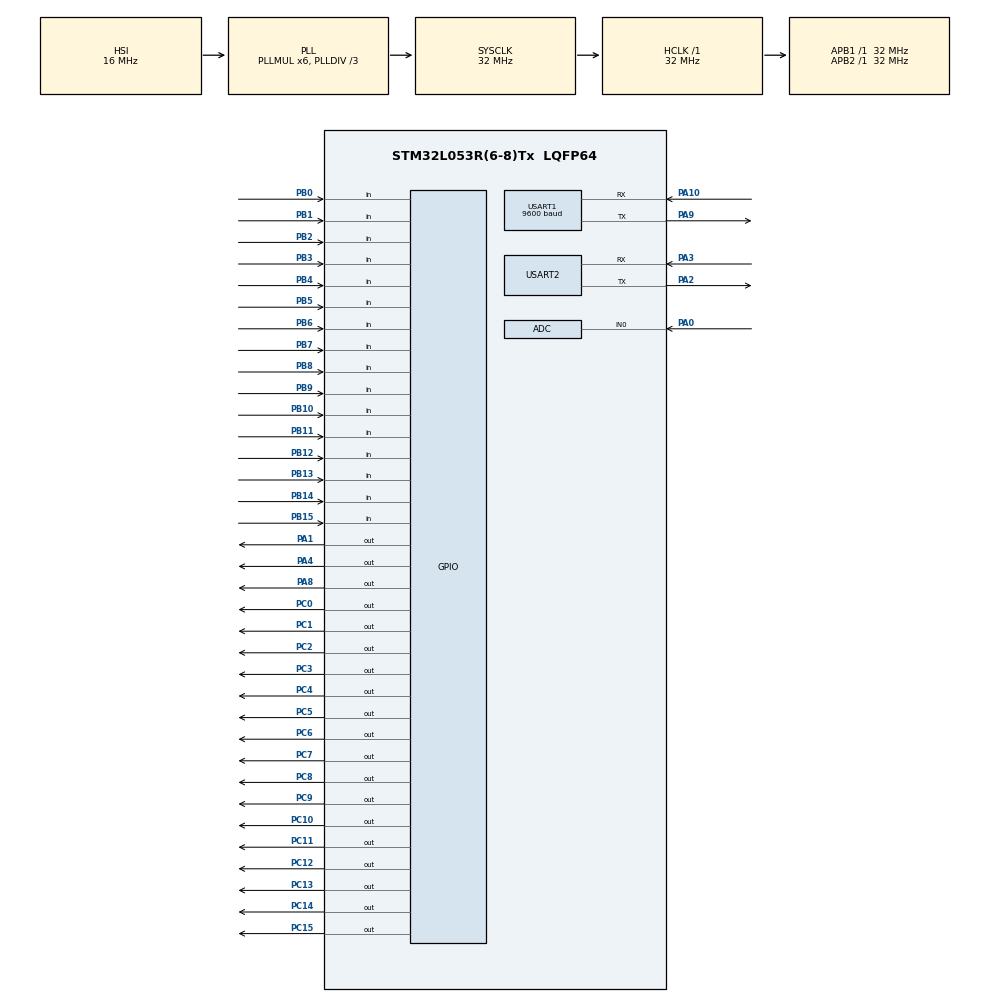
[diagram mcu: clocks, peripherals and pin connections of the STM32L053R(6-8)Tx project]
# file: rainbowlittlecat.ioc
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Mcu.Family=STM32L0
Mcu.Name=STM32L053R(6-8)Tx
Mcu.Package=LQFP64
NVIC.TIM6_DAC_IRQn=true\:0\:0\:false\:false\:true\:true\:true
NVIC.USART2_IRQn=true\:0\:0\:false\:false\:true\:true\:true
PA0.Mode=IN0
PA0.Signal=ADC_IN0
PA1.Signal=GPIO_Output
PA10.Mode=Asynchronous
PA10.Signal=USART1_RX
PA2.Mode=Asynchronous
PA2.Signal=USART2_TX
PA3.Mode=Asynchronous
PA3.Signal=USART2_RX
PA4.Signal=GPIO_Output
PA8.Signal=GPIO_Output
PA9.Mode=Asynchronous
PA9.Signal=USART1_TX
PB0.Signal=GPIO_Input
PB1.Signal=GPIO_Input
PB10.Signal=GPIO_Input
PB11.Signal=GPIO_Input
PB12.Signal=GPIO_Input
PB13.Signal=GPIO_Input
PB14.Signal=GPIO_Input
PB15.Signal=GPIO_Input
PB2.Signal=GPIO_Input
PB3.Signal=GPIO_Input
PB4.Signal=GPIO_Input
PB5.Signal=GPIO_Input
PB6.Signal=GPIO_Input
PB7.Signal=GPIO_Input
PB8.Signal=GPIO_Input
PB9.Signal=GPIO_Input
PC0.Signal=GPIO_Output
PC1.Signal=GPIO_Output
PC10.Signal=GPIO_Output
PC11.Signal=GPIO_Output
PC12.Signal=GPIO_Output
PC13.Signal=GPIO_Output
PC14-OSC32_IN.Signal=GPIO_Output
PC15-OSC32_OUT.Signal=GPIO_Output
PC2.Signal=GPIO_Output
PC3.Signal=GPIO_Output
PC4.Signal=GPIO_Output
PC5.Signal=GPIO_Output
PC6.Signal=GPIO_Output
PC7.Signal=GPIO_Output
PC8.Signal=GPIO_Output
PC9.Signal=GPIO_Output
ProjectManager.HeapSize=0x200
ProjectManager.StackSize=0x400
ProjectManager.TargetToolchain=MDK-ARM V5
RCC.AHBFreq_Value=32000000
RCC.APB1Freq_Value=32000000
RCC.APB1TimFreq_Value=32000000
RCC.APB2Freq_Value=32000000
RCC.APB2TimFreq_Value=32000000
RCC.HCLKFreq_Value=32000000
RCC.HSE_VALUE=8000000
RCC.HSI16_VALUE=16000000
RCC.HSI48_VALUE=48000000
RCC.HSI_VALUE=16000000
RCC.LSE_VALUE=32768
RCC.MSI_VALUE=2097000
RCC.PLLDIV=RCC_PLLDIV_3
RCC.PLLMUL=RCC_PLLMUL_6
RCC.SYSCLKFreq_VALUE=32000000
RCC.SYSCLKSource=RCC_SYSCLKSOURCE_PLLCLK
RCC.VCOOutputFreq_Value=96000000
TIM6.Period=9
TIM6.Prescaler=31
USART1.BaudRate=9600
USART1.VirtualMode-Asynchronous=VM_ASYNC
USART2.VirtualMode-Asynchronous=VM_ASYNC
VP_TIM6_VS_ClockSourceINT.Mode=Enable_Timer
board=custom

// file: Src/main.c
/* USER CODE BEGIN Header */
/**
  ******************************************************************************
  * @file           : main.c
  * @brief          : Main program body
  ******************************************************************************
  * @attention
  *
  * <h2><center>&copy; Copyright (c) 2019 STMicroelectronics.
  * All rights reserved.</center></h2>
  *
  * This software component is licensed by ST under BSD 3-Clause license,
  * the "License"; You may not use this file except in compliance with the
  * License. You may obtain a copy of the License at:
  *                        opensource.org/licenses/BSD-3-Clause
  *
  ******************************************************************************
  */
/* USER CODE END Header */

#include "main.h"

ADC_HandleTypeDef hadc;

TIM_HandleTypeDef htim6;

UART_HandleTypeDef huart1;
UART_HandleTypeDef huart2;

/* USER CODE BEGIN PV */
unsigned char txcompleted = 0;
unsigned int rx,tx,pm25,pm25_i,temp,temp_i,wet,wet_i,led,pm25_prestate,buzzer,pm25_state;
uint8_t pm2524_1[48],pm2524_2[48];
/*65,58,64,69,83,96,103,97,
										104,93,107,86,80,76,95,102,127,144,152,150,
										145,143,145,132,123,134,106,83,65,73,86,95,
										99,115,117,128,124,112,97,78,83,108,104,109,
										105,109,104,101*/
uint8_t pm2524[48];
uint8_t temp24[48];
uint8_t wet24[48];
/* USER CODE END PV */

void SystemClock_Config(void);
static void MX_GPIO_Init(void);
static void MX_TIM6_Init(void);
static void MX_USART2_UART_Init(void);
static void MX_ADC_Init(void);
static void MX_USART1_UART_Init(void);

/* USER CODE BEGIN 0 */
/* Timer中斷 -----------------------------------------------------------------*/
unsigned int clk_seg7,clk_adc,clk_debounce,clk_buzzer,clk_pm25,clk_fpga;
unsigned int clk_ms,clk_1m,clk_5m,clk_20m,clk_50m,clk_05,clk_1,clk_30min;
/********************************************************
 *	公式->中斷頻率=APB1頻率(32MHz/Prescaler+1/Period+1)	*
 *	htim6.Init.Prescaler = 3199;												*
 *	htim6.Init.Period = 9;															*
 *	每1ms持行一次																				*
 ********************************************************/
void HAL_TIM_PeriodElapsedCallback(TIM_HandleTypeDef *htim)
{
	if(clk_pm25>0) clk_pm25--;
	if(clk_ms>0)  clk_ms--;
	if(clk_ms==0) {
		clk_ms = 100;
//		if(clk_seg7>0) clk_seg7--;	//七段用中斷
		if(clk_adc>0)  clk_adc--;	//ADC用中斷
		if(clk_buzzer>0) clk_buzzer--;

		if(clk_fpga) clk_fpga--;
//		if(clk_debounce>0) clk_debounce--;	//防彈跳用中斷
//		if(clk_1m)     clk_1m--;
//		if(clk_5m>0)   clk_5m--;
//		if(clk_05>0)   clk_05--;
//		if(clk_1>0)    clk_1--;
		if(clk_30min>0)    clk_30min--;
	}
}
//void USART1_IRQHandler (void)
//{
//	if ( USART1->ISR & USART_ISR_RXNE ) {	// RXNE
//		rxtail = (rxtail + 1) & 0x1f;
//		rxbuf[rxtail] = USART1->RDR;
//	}
//	if ( USART1->ISR & USART_ISR_TC )	{		// TC
//		USART1->ICR = USART_ICR_TCCF;
//		txcompleted = 1;
//	}
//}

/* ADC -----------------------------------------------------------------------*/
unsigned int adc[4]={0,0,0,0},ADC_Value[200];				//ADC的值0~4095,ADC取多次做平均的陣列
unsigned int ana0,ana1,ana2,ana3,adc_i,adc_averge_i;//ADC的值0~3.3V
unsigned int adc_vol(unsigned int channel)					//讀取ADC
{
	//channel=ADC_CHSELR_CHSEL0,ADC_CHSELR_CHSEL1,ADC_CHSELR_CHSEL2,ADC_CHSELR_CHSEL3,
	/**********************************************************************************
	 * (1) Select HSI16 by writing 00 in CKMODE (reset value) 												*
	 * (2) Select the auto off mode 																									*
	 * (3) Select CHSEL17 for VRefInt																									*
	 * (4) Select a sampling mode of 111 i.e. 239.5 ADC clk to be greater than 17.1us *
	 * (5) Wake-up the VREFINT (only for Temp sensor and VRefInt) 										*
	 **********************************************************************************/
	//ADC1->CFGR2 &= ~ADC_CFGR2_CKMODE; 															/* (1) */
	ADC1->CFGR1 |= ADC_CFGR1_AUTOFF;		 															/* (2) */
	ADC1->CHSELR = channel;																						/* (3) */
	ADC1->SMPR |= ADC_SMPR_SMP_0 | ADC_SMPR_SMP_1 | ADC_SMPR_SMP_2; 	/* (4) */
	ADC->CCR |= ADC_CCR_VREFEN; 																			/* (5) */
	/* Performs the AD conversion */
	ADC1->CR |= ADC_CR_ADSTART; /* start the ADC conversion */
	while ((ADC1->ISR & ADC_ISR_EOC) == 0) /* wait end of conversion */
	{
	/* For robust implementation, add here time-out management */
	}

	return ADC1->DR;	//回傳ADC的值
}

void adconverter(void)	//ADC做平均
{
//	if(clk_adc==0)
//	{
//		clk_adc=1;	//以1ms中斷
		ADC_Value[adc_i++] = adc_vol(ADC_CHSELR_CHSEL0);	//將通道0的值丟入ADC_Value%4=0的格子
		adc_i &= 0x7f;
		if(adc_averge_i <= 0x7f)
		{
			adc[0] += ADC_Value[adc_averge_i++];	//所有ADC_Value%4=0的總和丟入adc[0]
		}
		else
		{
			adc[0] >>= 7;  //將adc[0]取平均
			ana0 = ((float)adc[0]*(2.75/4095)) *1000; //將adc[0]轉換成0~3.3V*1000
			adc[0] = 0;
			adc_averge_i = 0;
//		}
	}
}

char sbuf[10];
char rxbuf[32], rxhead, rxtail;
char txbuf[32], txhead, txtail;
unsigned int a;
void Tx_Task()
{
//	if((GPIOA->IDR & 0x0010) != 0){
		while ( txhead != txtail ) {
			if ( USART2->ISR & USART_ISR_TC )	{		// TC
				USART2->ICR = USART_ICR_TCCF;
				txhead = (txhead + 1) & 0x1f;
				USART2->TDR = txbuf[txhead];
			}
		}
//	}
}
void Tx_UART1()
{
//	if((GPIOA->IDR & 0x0010) != 0){
		while ( txhead != txtail ) {
			if ( USART1->ISR & USART_ISR_TC )	{		// TC
				USART1->ICR = USART_ICR_TCCF;
				txhead = (txhead + 1) & 0x1f;
				USART1->TDR = txbuf[txhead];
			}
		}
//	}
}
void Echo_Char(char ch)
{
	txtail = txhead = 0;
	txtail = (txtail + 1) & 0x1f;
	txbuf[txtail] = ch;
}

void Echo_Str(char *s)
{
	txtail = txhead = 0;
	while ( *s != '\0' ) {
		txtail = (txtail + 1) & 0x1f;
		txbuf[txtail] = *s;
		s++;
	}
}
/* USER CODE END 0 */

int main(void)
{

  /* MCU Configuration--------------------------------------------------------*/

  /* Reset of all peripherals, Initializes the Flash interface and the Systick. */
  HAL_Init();

  /* Configure the system clock */
  SystemClock_Config();

  /* Initialize all configured peripherals */
  MX_GPIO_Init();
  MX_TIM6_Init();
  MX_USART2_UART_Init();
  MX_ADC_Init();
  MX_USART1_UART_Init();
  /* USER CODE BEGIN 2 */
	HAL_TIM_Base_Start_IT(&htim6);						//開啟Timer中斷

	rxtail = rxhead = 0;
	txtail = txhead = 0;
	pm25_i = temp_i = wet_i = 0;
	clk_30min = 10000;
	buzzer=0;
	HAL_GPIO_WritePin(GPIOA,GPIO_PIN_4,GPIO_PIN_SET);
	HAL_GPIO_WritePin(GPIOA,GPIO_PIN_1,GPIO_PIN_RESET);
	pm25_state = 0;
//	Echo_Char(0x41);
//	Tx_UART1();

//	for(int i=0;i<256;i++){
//		Echo_Char(i);
//		Tx_Task();
//	}
//	for(int i=0;i<256;i++){
//		Echo_Char(i);
//		Tx_Task();
//	}
  /* USER CODE END 2 */

  /* Infinite loop */
  /* USER CODE BEGIN WHILE */
  while (1)
  {
		if(clk_pm25==0){
			if(pm25_state==0){
				clk_pm25 = 28;
				HAL_GPIO_WritePin(GPIOA,GPIO_PIN_8,GPIO_PIN_RESET);
				pm25_state = 1;
			}
			else if(pm25_state==1){
				clk_pm25 = 4;
				adconverter();
				pm25 = (0.17*ana0 - 0.1*1000);
				if(pm25>255) pm25=255;
				if(pm25>250 & pm25_prestate<=250){
					HAL_GPIO_WritePin(GPIOA,GPIO_PIN_1,GPIO_PIN_SET);
					Echo_Str("A");
					Tx_UART1();
				}
				if(pm25<250 & pm25_prestate>=250){
					HAL_GPIO_WritePin(GPIOA,GPIO_PIN_1,GPIO_PIN_RESET);
					Echo_Str("B");
					Tx_UART1();

				}
				if(pm25>250){
					if(clk_buzzer==0 & buzzer<=5){
						clk_buzzer = 100;
						HAL_GPIO_TogglePin(GPIOA,GPIO_PIN_4);
						buzzer++;
					}
				}
				else{
					if(buzzer>5){
						buzzer=0;
						HAL_GPIO_WritePin(GPIOA,GPIO_PIN_4,GPIO_PIN_SET);
					}
				}
				pm25_prestate = pm25;
				if(clk_fpga==0){
					clk_fpga=1000;
					GPIOC->ODR = pm25;
				}
				pm25_state = 2;
			}
			else if(pm25_state==2){
				clk_pm25 = 968;
				HAL_GPIO_WritePin(GPIOA,GPIO_PIN_8,GPIO_PIN_SET);
				pm25_state = 0;
			}
		}

		wet  = (GPIOB->IDR >> 0)&0xff;
		wet  = ((wet>>4)&0xf)*10 + (wet&0xf);
		temp = (GPIOB->IDR >> 8)&0xff;
		temp = ((temp>>4)&0xf)*10 + (temp&0xf);
		if(temp>68 & wet>28){
			HAL_GPIO_WritePin(GPIOA,GPIO_PIN_1,GPIO_PIN_SET);
			Echo_Str("A");
			Tx_UART1();
			if(clk_buzzer==0 & buzzer<=5){
				clk_buzzer = 100;
				HAL_GPIO_TogglePin(GPIOA,GPIO_PIN_4);
				buzzer++;
			}
			else{
				if(buzzer>5){
					buzzer=0;
					HAL_GPIO_WritePin(GPIOA,GPIO_PIN_4,GPIO_PIN_SET);
				}
			}
		}

		if(clk_30min == 0){
			clk_30min = 1800000;
//			pm2524_2[pm25_i] = pm2524_1[pm25_i];
//			pm2524_1[pm25_i] = pm2524[pm25_i];
			pm2524[pm25_i] = pm25;
//			if((pm2524_2[pm25_i]>pm2524_2[pm25_i-1])&&(pm2524_1[pm25_i]>pm2524_1[pm25_i-1])&&(pm2524[pm25_i]>pm2524[pm25_i-1])) led=1;;
			pm25_i++;
			pm25_i %= 48;
			temp24[temp_i++] = temp;
			temp_i %= 48;
			wet24[wet_i++] = wet;
			wet_i %= 48;
		}
		if(USART2->ISR & USART_ISR_RXNE) {	// RXNE
			rxtail = (rxtail + 1) & 0x1f;
			rxbuf[rxtail] = USART2->RDR;
			rx = USART2->RDR;
			if(rx == 0x72){
				for(int i=0;i<48;i++){
					Echo_Char(pm2524[pm25_i++]);
					pm25_i %= 48;
					Tx_Task();

					Echo_Char(wet24[wet_i++]);
					wet_i %= 48;
					Tx_Task();
					Echo_Char(temp24[temp_i++]);
					temp_i %= 48;
					Tx_Task();
				}
				Echo_Char(clk_30min/60000);
				Tx_Task();
			}
			else if(rx == 0x6E){
				Echo_Char(pm25);
				Tx_Task();
				Echo_Char(wet);
				Tx_Task();
				Echo_Char(temp);
				Tx_Task();
			}
			else if(rx == 0x6F){
				HAL_GPIO_WritePin(GPIOA,GPIO_PIN_1,GPIO_PIN_SET);
				Echo_Str("A");
				Tx_UART1();
			}
			else if(rx == 0x66){
				HAL_GPIO_WritePin(GPIOA,GPIO_PIN_1,GPIO_PIN_RESET);
				Echo_Str("B");
				Tx_UART1();
			}
		}
//		if(led==1){
//			Echo_Char(0x41);
//			Tx_UART1();
//		}
//		else {
//			Echo_Char(0x42);
//			Tx_UART1();
//		}
//
    /* USER CODE END WHILE */

  }
}

void SystemClock_Config(void)
{
  RCC_OscInitTypeDef RCC_OscInitStruct = {0};
  RCC_ClkInitTypeDef RCC_ClkInitStruct = {0};
  RCC_PeriphCLKInitTypeDef PeriphClkInit = {0};

  /** Configure the main internal regulator output voltage
  */
  __HAL_PWR_VOLTAGESCALING_CONFIG(PWR_REGULATOR_VOLTAGE_SCALE1);
  /** Initializes the CPU, AHB and APB busses clocks
  */
  RCC_OscInitStruct.OscillatorType = RCC_OSCILLATORTYPE_HSI;
  RCC_OscInitStruct.HSIState = RCC_HSI_ON;
  RCC_OscInitStruct.HSICalibrationValue = RCC_HSICALIBRATION_DEFAULT;
  RCC_OscInitStruct.PLL.PLLState = RCC_PLL_ON;
  RCC_OscInitStruct.PLL.PLLSource = RCC_PLLSOURCE_HSI;
  RCC_OscInitStruct.PLL.PLLMUL = RCC_PLLMUL_6;
  RCC_OscInitStruct.PLL.PLLDIV = RCC_PLLDIV_3;
  if (HAL_RCC_OscConfig(&RCC_OscInitStruct) != HAL_OK)
  {
    Error_Handler();
  }
  /** Initializes the CPU, AHB and APB busses clocks
  */
  RCC_ClkInitStruct.ClockType = RCC_CLOCKTYPE_HCLK|RCC_CLOCKTYPE_SYSCLK
                              |RCC_CLOCKTYPE_PCLK1|RCC_CLOCKTYPE_PCLK2;
  RCC_ClkInitStruct.SYSCLKSource = RCC_SYSCLKSOURCE_PLLCLK;
  RCC_ClkInitStruct.AHBCLKDivider = RCC_SYSCLK_DIV1;
  RCC_ClkInitStruct.APB1CLKDivider = RCC_HCLK_DIV1;
  RCC_ClkInitStruct.APB2CLKDivider = RCC_HCLK_DIV1;

  if (HAL_RCC_ClockConfig(&RCC_ClkInitStruct, FLASH_LATENCY_1) != HAL_OK)
  {
    Error_Handler();
  }
  PeriphClkInit.PeriphClockSelection = RCC_PERIPHCLK_USART1|RCC_PERIPHCLK_USART2;
  PeriphClkInit.Usart1ClockSelection = RCC_USART1CLKSOURCE_PCLK2;
  PeriphClkInit.Usart2ClockSelection = RCC_USART2CLKSOURCE_PCLK1;
  if (HAL_RCCEx_PeriphCLKConfig(&PeriphClkInit) != HAL_OK)
  {
    Error_Handler();
  }
}

static void MX_ADC_Init(void)
{

  ADC_ChannelConfTypeDef sConfig = {0};

  /** Configure the global features of the ADC (Clock, Resolution, Data Alignment and number of conversion)
  */
  hadc.Instance = ADC1;
  hadc.Init.OversamplingMode = DISABLE;
  hadc.Init.ClockPrescaler = ADC_CLOCK_SYNC_PCLK_DIV2;
  hadc.Init.Resolution = ADC_RESOLUTION_12B;
  hadc.Init.SamplingTime = ADC_SAMPLETIME_1CYCLE_5;
  hadc.Init.ScanConvMode = ADC_SCAN_DIRECTION_FORWARD;
  hadc.Init.DataAlign = ADC_DATAALIGN_RIGHT;
  hadc.Init.ContinuousConvMode = DISABLE;
  hadc.Init.DiscontinuousConvMode = DISABLE;
  hadc.Init.ExternalTrigConvEdge = ADC_EXTERNALTRIGCONVEDGE_NONE;
  hadc.Init.ExternalTrigConv = ADC_SOFTWARE_START;
  hadc.Init.DMAContinuousRequests = DISABLE;
  hadc.Init.EOCSelection = ADC_EOC_SINGLE_CONV;
  hadc.Init.Overrun = ADC_OVR_DATA_PRESERVED;
  hadc.Init.LowPowerAutoWait = DISABLE;
  hadc.Init.LowPowerFrequencyMode = DISABLE;
  hadc.Init.LowPowerAutoPowerOff = DISABLE;
  if (HAL_ADC_Init(&hadc) != HAL_OK)
  {
    Error_Handler();
  }
  /** Configure for the selected ADC regular channel to be converted.
  */
  sConfig.Channel = ADC_CHANNEL_0;
  sConfig.Rank = ADC_RANK_CHANNEL_NUMBER;
  if (HAL_ADC_ConfigChannel(&hadc, &sConfig) != HAL_OK)
  {
    Error_Handler();
  }

}

static void MX_TIM6_Init(void)
{

  TIM_MasterConfigTypeDef sMasterConfig = {0};

  htim6.Instance = TIM6;
  htim6.Init.Prescaler = 31;
  htim6.Init.CounterMode = TIM_COUNTERMODE_UP;
  htim6.Init.Period = 9;
  htim6.Init.AutoReloadPreload = TIM_AUTORELOAD_PRELOAD_DISABLE;
  if (HAL_TIM_Base_Init(&htim6) != HAL_OK)
  {
    Error_Handler();
  }
  sMasterConfig.MasterOutputTrigger = TIM_TRGO_RESET;
  sMasterConfig.MasterSlaveMode = TIM_MASTERSLAVEMODE_DISABLE;
  if (HAL_TIMEx_MasterConfigSynchronization(&htim6, &sMasterConfig) != HAL_OK)
  {
    Error_Handler();
  }

}

static void MX_USART1_UART_Init(void)
{

  huart1.Instance = USART1;
  huart1.Init.BaudRate = 9600;
  huart1.Init.WordLength = UART_WORDLENGTH_8B;
  huart1.Init.StopBits = UART_STOPBITS_1;
  huart1.Init.Parity = UART_PARITY_NONE;
  huart1.Init.Mode = UART_MODE_TX_RX;
  huart1.Init.HwFlowCtl = UART_HWCONTROL_NONE;
  huart1.Init.OverSampling = UART_OVERSAMPLING_16;
  huart1.Init.OneBitSampling = UART_ONE_BIT_SAMPLE_DISABLE;
  huart1.AdvancedInit.AdvFeatureInit = UART_ADVFEATURE_NO_INIT;
  if (HAL_UART_Init(&huart1) != HAL_OK)
  {
    Error_Handler();
  }

}

static void MX_USART2_UART_Init(void)
{

  huart2.Instance = USART2;
  huart2.Init.BaudRate = 115200;
  huart2.Init.WordLength = UART_WORDLENGTH_8B;
  huart2.Init.StopBits = UART_STOPBITS_1;
  huart2.Init.Parity = UART_PARITY_NONE;
  huart2.Init.Mode = UART_MODE_TX_RX;
  huart2.Init.HwFlowCtl = UART_HWCONTROL_NONE;
  huart2.Init.OverSampling = UART_OVERSAMPLING_16;
  huart2.Init.OneBitSampling = UART_ONE_BIT_SAMPLE_DISABLE;
  huart2.AdvancedInit.AdvFeatureInit = UART_ADVFEATURE_NO_INIT;
  if (HAL_UART_Init(&huart2) != HAL_OK)
  {
    Error_Handler();
  }

}

static void MX_GPIO_Init(void)
{
  GPIO_InitTypeDef GPIO_InitStruct = {0};

  /* GPIO Ports Clock Enable */
  __HAL_RCC_GPIOC_CLK_ENABLE();
  __HAL_RCC_GPIOA_CLK_ENABLE();
  __HAL_RCC_GPIOB_CLK_ENABLE();

  /*Configure GPIO pin Output Level */
  HAL_GPIO_WritePin(GPIOC, GPIO_PIN_13|GPIO_PIN_14|GPIO_PIN_15|GPIO_PIN_0
                          |GPIO_PIN_1|GPIO_PIN_2|GPIO_PIN_3|GPIO_PIN_4
                          |GPIO_PIN_5|GPIO_PIN_6|GPIO_PIN_7|GPIO_PIN_8
                          |GPIO_PIN_9|GPIO_PIN_10|GPIO_PIN_11|GPIO_PIN_12, GPIO_PIN_RESET);

  /*Configure GPIO pin Output Level */
  HAL_GPIO_WritePin(GPIOA, GPIO_PIN_1|GPIO_PIN_4|GPIO_PIN_8, GPIO_PIN_RESET);

  /*Configure GPIO pins : PC13 PC14 PC15 PC0
                           PC1 PC2 PC3 PC4
                           PC5 PC6 PC7 PC8
                           PC9 PC10 PC11 PC12 */
  GPIO_InitStruct.Pin = GPIO_PIN_13|GPIO_PIN_14|GPIO_PIN_15|GPIO_PIN_0
                          |GPIO_PIN_1|GPIO_PIN_2|GPIO_PIN_3|GPIO_PIN_4
                          |GPIO_PIN_5|GPIO_PIN_6|GPIO_PIN_7|GPIO_PIN_8
                          |GPIO_PIN_9|GPIO_PIN_10|GPIO_PIN_11|GPIO_PIN_12;
  GPIO_InitStruct.Mode = GPIO_MODE_OUTPUT_PP;
  GPIO_InitStruct.Pull = GPIO_NOPULL;
  GPIO_InitStruct.Speed = GPIO_SPEED_FREQ_LOW;
  HAL_GPIO_Init(GPIOC, &GPIO_InitStruct);

  /*Configure GPIO pins : PA1 PA4 PA8 */
  GPIO_InitStruct.Pin = GPIO_PIN_1|GPIO_PIN_4|GPIO_PIN_8;
  GPIO_InitStruct.Mode = GPIO_MODE_OUTPUT_PP;
  GPIO_InitStruct.Pull = GPIO_NOPULL;
  GPIO_InitStruct.Speed = GPIO_SPEED_FREQ_LOW;
  HAL_GPIO_Init(GPIOA, &GPIO_InitStruct);

  /*Configure GPIO pins : PB0 PB1 PB2 PB10
                           PB11 PB12 PB13 PB14
                           PB15 PB3 PB4 PB5
                           PB6 PB7 PB8 PB9 */
  GPIO_InitStruct.Pin = GPIO_PIN_0|GPIO_PIN_1|GPIO_PIN_2|GPIO_PIN_10
                          |GPIO_PIN_11|GPIO_PIN_12|GPIO_PIN_13|GPIO_PIN_14
                          |GPIO_PIN_15|GPIO_PIN_3|GPIO_PIN_4|GPIO_PIN_5
                          |GPIO_PIN_6|GPIO_PIN_7|GPIO_PIN_8|GPIO_PIN_9;
  GPIO_InitStruct.Mode = GPIO_MODE_INPUT;
  GPIO_InitStruct.Pull = GPIO_NOPULL;
  HAL_GPIO_Init(GPIOB, &GPIO_InitStruct);

}

void Error_Handler(void)
{
}

/************************ (C) COPYRIGHT STMicroelectronics *****END OF FILE****/
